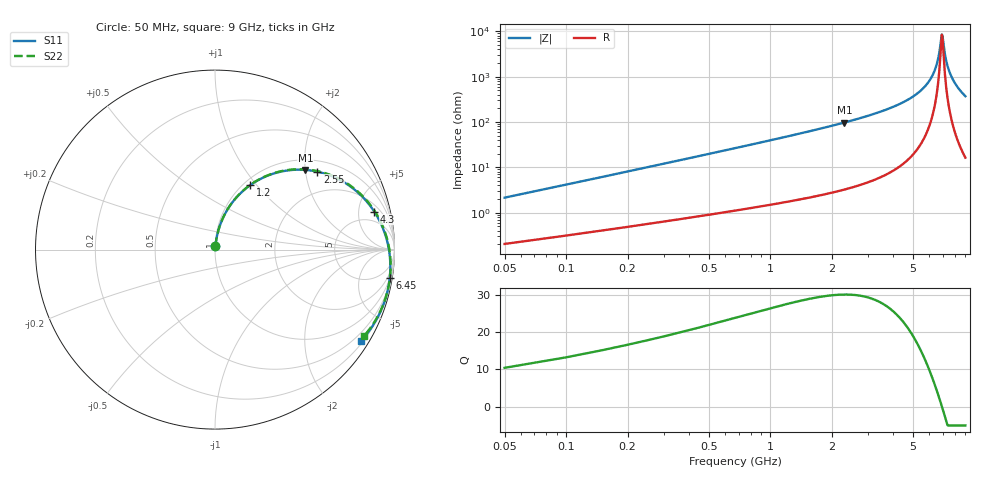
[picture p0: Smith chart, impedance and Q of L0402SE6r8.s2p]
!	AVX Thin Film Operation
!	Date:		5 January 2004
!	Description: 	Accu-L®  L0402 Series Thin Film RF Inductors
!	Part Number:	L04026R8BHNTR
!	50 MHz-20GHz Serial Measurements
#	mhz	S	db	R	50
!	S11	S11	S21	S21	S12	S12	S22	S22
!	dB	Phase	dB	Phase	dB	Phase	dB	Phase
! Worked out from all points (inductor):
!   180 points, 50 MHz to 9 GHz, reference 50 ohm
!   read as one part in series: L = 6.6 nH near 50 MHz
!   highest Q = 30 at 2.3 GHz (marker M1), where L = 6.72 nH
!   self-resonance near 6.9 GHz
!   S11 on the Smith chart (normalised r, x): 50 MHz: 1.00, +0.04; 1.2 GHz: 1.07, +0.93; 2.55 GHz: 1.30, +2.32; 4.3 GHz: 2.91, +7.35; 6.45 GHz: 1, -12; 9 GHz: 0.27, -3.47
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50  -33.71 83.0  -0.02 -1.3  -0.02 -1.3  -33.71 83.0
100  -28.00 83.0  -0.03 -2.5  -0.03 -2.5  -28.00 83.0
150  -24.64 82.4  -0.05 -3.6  -0.05 -3.6  -24.64 82.4
350  -17.61 78.7  -0.14 -8.2  -0.14 -8.2  -17.61 78.8
700  -11.94 71.5  -0.39 -16.0  -0.39 -16.0  -11.94 71.6
1200  -7.76 61.3  -0.94 -26.4  -0.94 -26.4  -7.76 61.5
1550  -5.93 54.6  -1.46 -33.2  -1.46 -33.2  -5.93 54.8
2300  -3.46 41.4  -2.88 -46.5  -2.88 -46.5  -3.46 41.7
2550  -2.90 37.3  -3.43 -50.5  -3.43 -50.5  -2.90 37.7
3050  -2.04 29.8  -4.67 -57.9  -4.67 -57.9  -2.04 30.3
4300  -0.80 13.4  -8.58 -73.7  -8.58 -73.7  -0.80 14.1
4550  -0.65 10.5  -9.56 -76.5  -9.56 -76.5  -0.65 11.3
5400  -0.31 1.2  -13.77 -84.6  -13.77 -84.6  -0.31 2.1
6050  -0.16 -5.4  -18.86 -88.6  -18.86 -88.6  -0.17 -4.3
6450  -0.12 -9.2  -24.29 -87.5  -24.29 -87.5  -0.12 -8.1
6700  -0.10 -11.6  -30.55 -78.1  -30.55 -78.1  -0.10 -10.4
6900  -0.10 -13.4  -38.79 -21.9  -38.79 -21.9  -0.10 -12.2
6950  -0.10 -13.9  -38.29 8.5  -38.29 8.5  -0.10 -12.7
7200  -0.10 -16.2  -28.54 57.2  -28.54 57.2  -0.10 -14.9
7550  -0.12 -19.4  -22.03 63.5  -22.03 63.5  -0.12 -17.9
8150  -0.19 -24.6  -16.51 62.1  -16.51 62.1  -0.19 -23.1
9000  -0.36 -31.9  -12.23 56.5  -12.23 56.5  -0.36 -30.1
